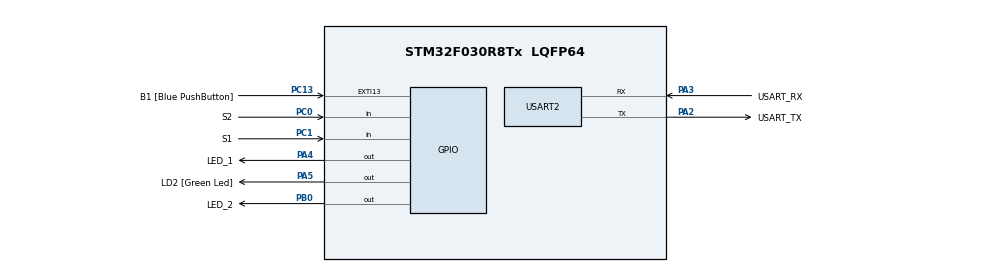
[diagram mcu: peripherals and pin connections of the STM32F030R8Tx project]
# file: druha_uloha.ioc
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Mcu.Family=STM32F0
Mcu.Name=STM32F030R8Tx
Mcu.Package=LQFP64
PA13.GPIO_Label=TMS
PA13.Mode=Serial_Wire
PA13.Signal=SYS_SWDIO
PA14.GPIO_Label=TCK
PA14.Mode=Serial_Wire
PA14.Signal=SYS_SWCLK
PA2.GPIO_Label=USART_TX
PA2.GPIO_Mode=GPIO_MODE_AF_PP
PA2.GPIO_PuPd=GPIO_NOPULL
PA2.GPIO_Speed=GPIO_SPEED_FREQ_LOW
PA2.Mode=Asynchronous
PA2.Signal=USART2_TX
PA3.GPIO_Label=USART_RX
PA3.GPIO_Mode=GPIO_MODE_AF_PP
PA3.GPIO_PuPd=GPIO_NOPULL
PA3.GPIO_Speed=GPIO_SPEED_FREQ_LOW
PA3.Mode=Asynchronous
PA3.Signal=USART2_RX
PA4.GPIO_Label=LED_1
PA4.Signal=GPIO_Output
PA5.GPIO_Label=LD2 [Green Led]
PA5.GPIO_Mode=GPIO_MODE_OUTPUT_PP
PA5.GPIO_PuPd=GPIO_NOPULL
PA5.GPIO_Speed=GPIO_SPEED_FREQ_LOW
PA5.Signal=GPIO_Output
PB0.GPIO_Label=LED_2
PB0.Signal=GPIO_Output
PC0.GPIO_Label=S2
PC0.GPIO_PuPd=GPIO_PULLUP
PC0.Signal=GPIO_Input
PC1.GPIO_Label=S1
PC1.GPIO_PuPd=GPIO_PULLUP
PC1.Signal=GPIO_Input
PC13.GPIO_Label=B1 [Blue PushButton]
PC13.GPIO_ModeDefaultEXTI=GPIO_MODE_IT_FALLING
PC13.Signal=GPXTI13
PC14-OSC32_IN.Mode=LSE-External-Oscillator
PC14-OSC32_IN.Signal=RCC_OSC32_IN
PC15-OSC32_OUT.Mode=LSE-External-Oscillator
PC15-OSC32_OUT.Signal=RCC_OSC32_OUT
PF0-OSC_IN.Mode=HSE-External-Clock-Source
PF0-OSC_IN.Signal=RCC_OSC_IN
PF1-OSC_OUT.Signal=RCC_OSC_OUT
ProjectManager.HeapSize=0x200
ProjectManager.StackSize=0x400
ProjectManager.TargetToolchain=STM32CubeIDE
RCC.AHBFreq_Value=48000000
RCC.APB1Freq_Value=48000000
RCC.APB1TimFreq_Value=48000000
RCC.HCLKFreq_Value=48000000
RCC.PLLMUL=RCC_PLL_MUL12
RCC.SYSCLKFreq_VALUE=48000000
RCC.SYSCLKSource=RCC_SYSCLKSOURCE_PLLCLK
USART2.VirtualMode-Asynchronous=VM_ASYNC
board=NUCLEO-F030R8

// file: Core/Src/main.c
/* USER CODE BEGIN Header */
/**
 ******************************************************************************
 * @file           : main.c
 * @brief          : Main program body
 ******************************************************************************
 * @attention
 *
 * Copyright (c) 2023 STMicroelectronics.
 * All rights reserved.
 *
 * This software is licensed under terms that can be found in the LICENSE file
 * in the root directory of this software component.
 * If no LICENSE file comes with this software, it is provided AS-IS.
 *
 ******************************************************************************
 */
/* USER CODE END Header */
#include "main.h"

/* USER CODE BEGIN PD */
#define LED_TIME_BLINK 300
#define LED_TIME_SHORT 100
#define LED_TIME_LONG 1000
#define DELAY_DEBOUNCE 5
/* USER CODE END PD */

/* USER CODE BEGIN PV */
volatile uint32_t Tick;
static uint32_t off_time;

/* USER CODE END PV */

void SystemClock_Config(void);
static void MX_GPIO_Init(void);
static void MX_USART2_UART_Init(void);

/* USER CODE BEGIN 0 */
static uint32_t off_time;

void blikac(void) {
	static uint32_t delay;

	if (Tick > delay + LED_TIME_BLINK) {
		LL_GPIO_TogglePin(LED_1_GPIO_Port, LED_1_Pin);
		delay = Tick;
	}
}

void tlacitka(void) {
	// Tlacitko S1
	static uint16_t debounce_s1 = 0xFFFF;

	debounce_s1 <<= 1;
	uint32_t bit = LL_GPIO_IsInputPinSet(S1_GPIO_Port, S1_Pin);
	if (bit) {
		debounce_s1 |= 0x0001;
	}
	if (debounce_s1 == 0x7FFF) {
		off_time = Tick + LED_TIME_LONG;
		LL_GPIO_SetOutputPin(LED_2_GPIO_Port, LED_2_Pin);
	}

	// Tlacitko S2
	static uint16_t debounce_s2 = 0xFFFF;

	debounce_s2 <<= 1;
	uint32_t bit2 = LL_GPIO_IsInputPinSet(S2_GPIO_Port, S2_Pin);
	if (bit2) {
		debounce_s2 |= 0x0001;
	}
	if (debounce_s2 == 0x7FFF) {
		off_time = Tick + LED_TIME_SHORT;
		LL_GPIO_SetOutputPin(LED_2_GPIO_Port, LED_2_Pin);
	}
}

void volac_tlacitok(void) {
	static uint32_t delay_2;

	if (Tick > delay_2 + DELAY_DEBOUNCE) {
		tlacitka();
		delay_2 = Tick;
		if (Tick > off_time) {
			LL_GPIO_ResetOutputPin(LED_2_GPIO_Port, LED_2_Pin);
		}
	}

}
/* USER CODE END 0 */

int main(void) {

	/* MCU Configuration--------------------------------------------------------*/

	/* Reset of all peripherals, Initializes the Flash interface and the Systick. */
	LL_APB1_GRP2_EnableClock(LL_APB1_GRP2_PERIPH_SYSCFG);
	LL_APB1_GRP1_EnableClock(LL_APB1_GRP1_PERIPH_PWR);

	/* Configure the system clock */
	SystemClock_Config();

	/* Initialize all configured peripherals */
	MX_GPIO_Init();
	MX_USART2_UART_Init();
	/* USER CODE BEGIN 2 */
	LL_SYSTICK_EnableIT();
	/* USER CODE END 2 */

	/* Infinite loop */
	/* USER CODE BEGIN WHILE */
	while (1) {
		blikac();
		volac_tlacitok();

		/* USER CODE END WHILE */

	}
}

void SystemClock_Config(void) {
	LL_FLASH_SetLatency(LL_FLASH_LATENCY_1);
	while (LL_FLASH_GetLatency() != LL_FLASH_LATENCY_1) {
	}
	LL_RCC_HSI_Enable();

	/* Wait till HSI is ready */
	while (LL_RCC_HSI_IsReady() != 1) {

	}
	LL_RCC_HSI_SetCalibTrimming(16);
	LL_RCC_PLL_ConfigDomain_SYS(LL_RCC_PLLSOURCE_HSI_DIV_2, LL_RCC_PLL_MUL_12);
	LL_RCC_PLL_Enable();

	/* Wait till PLL is ready */
	while (LL_RCC_PLL_IsReady() != 1) {

	}
	LL_RCC_SetAHBPrescaler(LL_RCC_SYSCLK_DIV_1);
	LL_RCC_SetAPB1Prescaler(LL_RCC_APB1_DIV_1);
	LL_RCC_SetSysClkSource(LL_RCC_SYS_CLKSOURCE_PLL);

	/* Wait till System clock is ready */
	while (LL_RCC_GetSysClkSource() != LL_RCC_SYS_CLKSOURCE_STATUS_PLL) {

	}
	LL_Init1msTick(48000000);
	LL_SetSystemCoreClock(48000000);
}

static void MX_USART2_UART_Init(void) {

	LL_USART_InitTypeDef USART_InitStruct = { 0 };

	LL_GPIO_InitTypeDef GPIO_InitStruct = { 0 };

	/* Peripheral clock enable */
	LL_APB1_GRP1_EnableClock(LL_APB1_GRP1_PERIPH_USART2);

	LL_AHB1_GRP1_EnableClock(LL_AHB1_GRP1_PERIPH_GPIOA);
	/**USART2 GPIO Configuration
	 PA2   ------> USART2_TX
	 PA3   ------> USART2_RX
	 */
	GPIO_InitStruct.Pin = USART_TX_Pin;
	GPIO_InitStruct.Mode = LL_GPIO_MODE_ALTERNATE;
	GPIO_InitStruct.Speed = LL_GPIO_SPEED_FREQ_LOW;
	GPIO_InitStruct.OutputType = LL_GPIO_OUTPUT_PUSHPULL;
	GPIO_InitStruct.Pull = LL_GPIO_PULL_NO;
	GPIO_InitStruct.Alternate = LL_GPIO_AF_1;
	LL_GPIO_Init(USART_TX_GPIO_Port, &GPIO_InitStruct);

	GPIO_InitStruct.Pin = USART_RX_Pin;
	GPIO_InitStruct.Mode = LL_GPIO_MODE_ALTERNATE;
	GPIO_InitStruct.Speed = LL_GPIO_SPEED_FREQ_LOW;
	GPIO_InitStruct.OutputType = LL_GPIO_OUTPUT_PUSHPULL;
	GPIO_InitStruct.Pull = LL_GPIO_PULL_NO;
	GPIO_InitStruct.Alternate = LL_GPIO_AF_1;
	LL_GPIO_Init(USART_RX_GPIO_Port, &GPIO_InitStruct);

	USART_InitStruct.BaudRate = 38400;
	USART_InitStruct.DataWidth = LL_USART_DATAWIDTH_8B;
	USART_InitStruct.StopBits = LL_USART_STOPBITS_1;
	USART_InitStruct.Parity = LL_USART_PARITY_NONE;
	USART_InitStruct.TransferDirection = LL_USART_DIRECTION_TX_RX;
	USART_InitStruct.HardwareFlowControl = LL_USART_HWCONTROL_NONE;
	USART_InitStruct.OverSampling = LL_USART_OVERSAMPLING_16;
	LL_USART_Init(USART2, &USART_InitStruct);
	LL_USART_DisableIT_CTS(USART2);
	LL_USART_ConfigAsyncMode(USART2);
	LL_USART_Enable(USART2);

}

static void MX_GPIO_Init(void) {
	LL_EXTI_InitTypeDef EXTI_InitStruct = { 0 };
	LL_GPIO_InitTypeDef GPIO_InitStruct = { 0 };

	/* GPIO Ports Clock Enable */
	LL_AHB1_GRP1_EnableClock(LL_AHB1_GRP1_PERIPH_GPIOC);
	LL_AHB1_GRP1_EnableClock(LL_AHB1_GRP1_PERIPH_GPIOF);
	LL_AHB1_GRP1_EnableClock(LL_AHB1_GRP1_PERIPH_GPIOA);
	LL_AHB1_GRP1_EnableClock(LL_AHB1_GRP1_PERIPH_GPIOB);

	/**/
	LL_GPIO_ResetOutputPin(LED_1_GPIO_Port, LED_1_Pin);

	/**/
	LL_GPIO_ResetOutputPin(LD2_GPIO_Port, LD2_Pin);

	/**/
	LL_GPIO_ResetOutputPin(LED_2_GPIO_Port, LED_2_Pin);

	/**/
	LL_SYSCFG_SetEXTISource(LL_SYSCFG_EXTI_PORTC, LL_SYSCFG_EXTI_LINE13);

	/**/
	LL_GPIO_SetPinPull(B1_GPIO_Port, B1_Pin, LL_GPIO_PULL_NO);

	/**/
	LL_GPIO_SetPinMode(B1_GPIO_Port, B1_Pin, LL_GPIO_MODE_INPUT);

	/**/
	EXTI_InitStruct.Line_0_31 = LL_EXTI_LINE_13;
	EXTI_InitStruct.LineCommand = ENABLE;
	EXTI_InitStruct.Mode = LL_EXTI_MODE_IT;
	EXTI_InitStruct.Trigger = LL_EXTI_TRIGGER_FALLING;
	LL_EXTI_Init(&EXTI_InitStruct);

	/**/
	GPIO_InitStruct.Pin = S2_Pin;
	GPIO_InitStruct.Mode = LL_GPIO_MODE_INPUT;
	GPIO_InitStruct.Pull = LL_GPIO_PULL_UP;
	LL_GPIO_Init(S2_GPIO_Port, &GPIO_InitStruct);

	/**/
	GPIO_InitStruct.Pin = S1_Pin;
	GPIO_InitStruct.Mode = LL_GPIO_MODE_INPUT;
	GPIO_InitStruct.Pull = LL_GPIO_PULL_UP;
	LL_GPIO_Init(S1_GPIO_Port, &GPIO_InitStruct);

	/**/
	GPIO_InitStruct.Pin = LED_1_Pin;
	GPIO_InitStruct.Mode = LL_GPIO_MODE_OUTPUT;
	GPIO_InitStruct.Speed = LL_GPIO_SPEED_FREQ_LOW;
	GPIO_InitStruct.OutputType = LL_GPIO_OUTPUT_PUSHPULL;
	GPIO_InitStruct.Pull = LL_GPIO_PULL_NO;
	LL_GPIO_Init(LED_1_GPIO_Port, &GPIO_InitStruct);

	/**/
	GPIO_InitStruct.Pin = LD2_Pin;
	GPIO_InitStruct.Mode = LL_GPIO_MODE_OUTPUT;
	GPIO_InitStruct.Speed = LL_GPIO_SPEED_FREQ_LOW;
	GPIO_InitStruct.OutputType = LL_GPIO_OUTPUT_PUSHPULL;
	GPIO_InitStruct.Pull = LL_GPIO_PULL_NO;
	LL_GPIO_Init(LD2_GPIO_Port, &GPIO_InitStruct);

	/**/
	GPIO_InitStruct.Pin = LED_2_Pin;
	GPIO_InitStruct.Mode = LL_GPIO_MODE_OUTPUT;
	GPIO_InitStruct.Speed = LL_GPIO_SPEED_FREQ_LOW;
	GPIO_InitStruct.OutputType = LL_GPIO_OUTPUT_PUSHPULL;
	GPIO_InitStruct.Pull = LL_GPIO_PULL_NO;
	LL_GPIO_Init(LED_2_GPIO_Port, &GPIO_InitStruct);

}

void Error_Handler(void) {
	__disable_irq();
	while (1) {
	}
}
